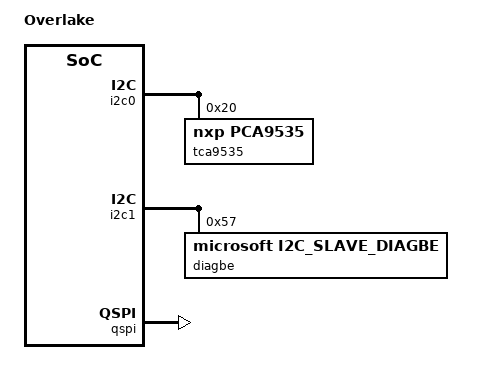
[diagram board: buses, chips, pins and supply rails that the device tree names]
// SPDX-License-Identifier: (GPL-2.0 or BSD-3-Clause)
/*
 *  Copyright(c) 2018 Broadcom
 */

/dts-v1/;


#define NUM_CRYPTO	0
#define NUM_RAID	0
#define NUM_SATA	0
#define ENABLE_NAND	0
#define ENABLE_SSP0	0
#define ENABLE_SSP1	0
#define ENABLE_SDCARD	0
#define ENABLE_PWM	0
#define ENABLE_ENET	0
#define ENABLE_MDIO	0
#define ENABLE_USB1	0
#define ENABLE_UART2	0
#define ENABLE_UART3	0

#define ENABLE_I2C0	1
#define ENABLE_I2C1	1
#define ENABLE_EMMC	1
#define ENABLE_OPTEE	1

#define ENABLE_PCIE0	1
#define NUM_PAXB	1

#ifndef ENABLE_PAXC
#define ENABLE_PAXC	1
#endif

#define ENABLE_PAXB_IOMMU	1
#define ENABLE_PAXC_IOMMU	1

#define ENABLE_DMC1	0
#define ENABLE_DMC2	0

#include "../../stingray-board-base.dtsi"
#include "../../stingray-dmc.dtsi"

/ {
	model = "Overlake";

	reserved-memory {
		#address-cells = <2>;
		#size-cells = <2>;
		ranges;

		tcg-log@C0000000 {
			reg = <0x0 0xC0000000 0x0 0x10000>;
		};

		/* GIC LPI tables */
		gic_lpi {
			reg = <0x0 0x8ad70000 0x0 0x90000>;
		};
		/* Nitro FW, nitro Crash, Bl31, Bl32 and elog */
		misc_reserve {
			reg = <0x0 0x8ae00000 0x0 0x4414000>;
			no-map;
		};
	};

	tpm@0 {
		compatible = "microsoft,ftpm";
		linux,sml-base = <0x0 0xC0000000>;
		linux,sml-size = <0x10000>;
	};

	pmem@980000000 {
		compatible = "pmem-region";
		reg = <0x00000009 0x80000000 0x00000000 0x80000000>;
		volatile;
		numa-node-id = <0>;
	};
};
&memory {
	reg = < 0x00 0x80000000 0x00 0x80000000 0x08 0x80000000 0x01 0x00 >;
};

&sdio0 {
	mmc-hs200-1_8v;
};

&i2c0 {
	tca9535@20 {
		compatible = "nxp,pca9535";
		reg = <0x20>;
		gpio-controller;
		#gpio-cells = <2>;
	};
};

&i2c1 {
	diagbe@57 {
		compatible = "microsoft,i2c_slave_diagbe";
		reg = <0x57>;
	};
};

&qspi {
	status = "okay";
};

&pci_lpm_region {
	status = "disabled";
};
